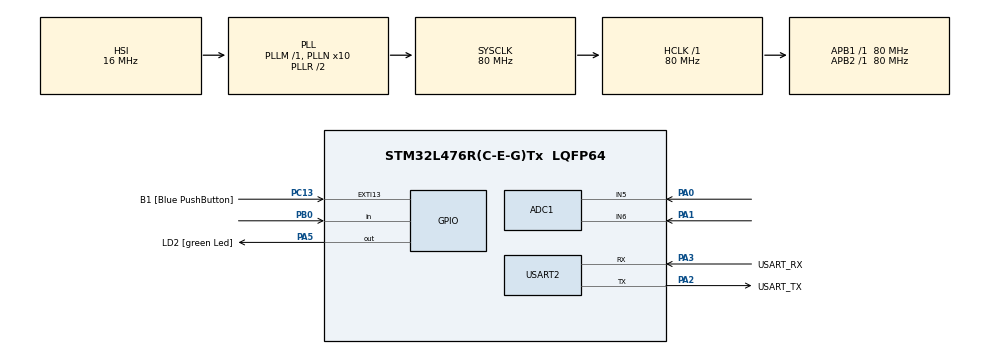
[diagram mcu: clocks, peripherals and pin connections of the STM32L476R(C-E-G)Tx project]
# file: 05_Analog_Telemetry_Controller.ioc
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ADC1.Channel-0\#ChannelRegularConversion=ADC_CHANNEL_5
ADC1.Channel-1\#ChannelRegularConversion=ADC_CHANNEL_6
ADC1.DiscontinuousConvMode=ENABLE
ADC1.NbrOfConversion=2
ADC1.NbrOfConversionFlag=1
ADC1.OffsetNumber-0\#ChannelRegularConversion=ADC_OFFSET_NONE
ADC1.OffsetNumber-1\#ChannelRegularConversion=ADC_OFFSET_NONE
ADC1.Rank-0\#ChannelRegularConversion=1
ADC1.Rank-1\#ChannelRegularConversion=2
ADC1.SamplingTime-0\#ChannelRegularConversion=ADC_SAMPLETIME_92CYCLES_5
ADC1.SamplingTime-1\#ChannelRegularConversion=ADC_SAMPLETIME_92CYCLES_5
ADC1.master=1
Mcu.Family=STM32L4
Mcu.Name=STM32L476R(C-E-G)Tx
Mcu.Package=LQFP64
NVIC.PriorityGroup=NVIC_PRIORITYGROUP_4
PA0.Signal=ADCx_IN5
PA1.Signal=ADCx_IN6
PA13\ (JTMS-SWDIO).GPIO_Label=TMS
PA13\ (JTMS-SWDIO).Mode=Serial_Wire
PA13\ (JTMS-SWDIO).Signal=SYS_JTMS-SWDIO
PA14\ (JTCK-SWCLK).GPIO_Label=TCK
PA14\ (JTCK-SWCLK).Mode=Serial_Wire
PA14\ (JTCK-SWCLK).Signal=SYS_JTCK-SWCLK
PA2.GPIO_Label=USART_TX
PA2.GPIO_Mode=GPIO_MODE_AF_PP
PA2.GPIO_PuPd=GPIO_NOPULL
PA2.GPIO_Speed=GPIO_SPEED_FREQ_VERY_HIGH
PA2.Mode=Asynchronous
PA2.Signal=USART2_TX
PA3.GPIO_Label=USART_RX
PA3.GPIO_Mode=GPIO_MODE_AF_PP
PA3.GPIO_PuPd=GPIO_NOPULL
PA3.GPIO_Speed=GPIO_SPEED_FREQ_VERY_HIGH
PA3.Mode=Asynchronous
PA3.Signal=USART2_RX
PA5.GPIO_Label=LD2 [green Led]
PA5.GPIO_ModeDefaultOutputPP=GPIO_MODE_OUTPUT_PP
PA5.GPIO_PuPd=GPIO_NOPULL
PA5.GPIO_Speed=GPIO_SPEED_FREQ_LOW
PA5.Signal=GPIO_Output
PB0.GPIO_PuPd=GPIO_PULLUP
PB0.Signal=GPIO_Input
PB3\ (JTDO-TRACESWO).GPIO_Label=SWO
PB3\ (JTDO-TRACESWO).Signal=SYS_JTDO-SWO
PC13.GPIO_Label=B1 [Blue PushButton]
PC13.GPIO_ModeDefaultEXTI=GPIO_MODE_IT_FALLING
PC13.GPIO_PuPd=GPIO_NOPULL
PC13.Signal=GPXTI13
PC14-OSC32_IN\ (PC14).Mode=LSE-External-Oscillator
PC14-OSC32_IN\ (PC14).Signal=RCC_OSC32_IN
PC15-OSC32_OUT\ (PC15).Mode=LSE-External-Oscillator
PC15-OSC32_OUT\ (PC15).Signal=RCC_OSC32_OUT
PH0-OSC_IN\ (PH0).Signal=RCC_OSC_IN
PH1-OSC_OUT\ (PH1).Signal=RCC_OSC_OUT
ProjectManager.HeapSize=0x200
ProjectManager.StackSize=0x400
ProjectManager.TargetToolchain=STM32CubeIDE
RCC.ADCFreq_Value=64000000
RCC.AHBFreq_Value=80000000
RCC.APB1Freq_Value=80000000
RCC.APB1TimFreq_Value=80000000
RCC.APB2Freq_Value=80000000
RCC.APB2TimFreq_Value=80000000
RCC.CortexFreq_Value=80000000
RCC.HCLKFreq_Value=80000000
RCC.HSE_VALUE=8000000
RCC.HSI_VALUE=16000000
RCC.MSI_VALUE=4000000
RCC.PLLN=10
RCC.PLLSourceVirtual=RCC_PLLSOURCE_HSI
RCC.PREFETCH_ENABLE=1
RCC.SYSCLKFreq_VALUE=80000000
RCC.SYSCLKSource=RCC_SYSCLKSOURCE_PLLCLK
RCC.USBFreq_Value=64000000
RCC.VCOOutputFreq_Value=160000000
SH.ADCx_IN5.0=ADC1_IN5,IN5-Single-Ended
SH.ADCx_IN6.0=ADC1_IN6,IN6-Single-Ended
USART2.VirtualMode-Asynchronous=VM_ASYNC
board=NUCLEO-L476RG

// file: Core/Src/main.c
/* USER CODE BEGIN Header */
/**
  ******************************************************************************
  * @file           : main.c
  * @brief          : Main program body
  ******************************************************************************
  * @attention
  *
  * Copyright (c) 2026 STMicroelectronics.
  * All rights reserved.
  *
  * This software is licensed under terms that can be found in the LICENSE file
  * in the root directory of this software component.
  * If no LICENSE file comes with this software, it is provided AS-IS.
  *
  ******************************************************************************
  */
/* USER CODE END Header */
#include "main.h"

/* USER CODE BEGIN Includes */
#include <stdio.h>
/* USER CODE END Includes */

ADC_HandleTypeDef hadc1;

UART_HandleTypeDef huart2;

void SystemClock_Config(void);
static void MX_GPIO_Init(void);
static void MX_ADC1_Init(void);
static void MX_USART2_UART_Init(void);

int main(void)
{

  /* USER CODE BEGIN 1 */
	uint16_t joy_x = 0;
	uint16_t joy_y = 0;
	uint8_t button_state = 0;

	// Optional: buffer for UART transmission
	char uart_buf[50];
  /* USER CODE END 1 */

  /* MCU Configuration--------------------------------------------------------*/

  /* Reset of all peripherals, Initializes the Flash interface and the Systick. */
  HAL_Init();

  /* Configure the system clock */
  SystemClock_Config();

  /* Initialize all configured peripherals */
  MX_GPIO_Init();
  MX_ADC1_Init();
  MX_USART2_UART_Init();

  /* Infinite loop */
  /* USER CODE BEGIN WHILE */
  while (1)
  {
	  // 1. Read X Axis (Rank 1 in ADC sequence)
	  HAL_ADC_Start(&hadc1);	// Start ADC conversion
	  if (HAL_ADC_PollForConversion(&hadc1, 10) == HAL_OK)
	  {
		  joy_x = HAL_ADC_GetValue(&hadc1);	// Get result from register
	  }

	  // 2. Read Y Axis (Rank 2 in ADC sequence)
	  HAL_ADC_Start(&hadc1);
	  if (HAL_ADC_PollForConversion(&hadc1, 10) == HAL_OK)
	  {
		  joy_y = HAL_ADC_GetValue(&hadc1);
	  }

	  // 3. Read button state
	  if (HAL_GPIO_ReadPin(GPIOB, GPIO_PIN_0) == GPIO_PIN_RESET)
	  {
		  button_state = 1;	// button pressed
	  }
	  else
	  {
		  button_state = 0;	// button released
	  }

	  // --- 4. UART DEBUG TRANSMISSION (Optional) ---
	  int len = sprintf(uart_buf, "X: %d | Y: %d | BTN: %d\r\n", joy_x, joy_y, button_state);
	  HAL_UART_Transmit(&huart2, (uint8_t*)uart_buf, len, 100);

	  // Short delay to avoid overloading the ADC and UART
	  HAL_Delay(20);
    /* USER CODE END WHILE */

  }
}

void SystemClock_Config(void)
{
  RCC_OscInitTypeDef RCC_OscInitStruct = {0};
  RCC_ClkInitTypeDef RCC_ClkInitStruct = {0};

  /** Configure the main internal regulator output voltage
  */
  if (HAL_PWREx_ControlVoltageScaling(PWR_REGULATOR_VOLTAGE_SCALE1) != HAL_OK)
  {
    Error_Handler();
  }

  /** Initializes the RCC Oscillators according to the specified parameters
  * in the RCC_OscInitTypeDef structure.
  */
  RCC_OscInitStruct.OscillatorType = RCC_OSCILLATORTYPE_HSI;
  RCC_OscInitStruct.HSIState = RCC_HSI_ON;
  RCC_OscInitStruct.HSICalibrationValue = RCC_HSICALIBRATION_DEFAULT;
  RCC_OscInitStruct.PLL.PLLState = RCC_PLL_ON;
  RCC_OscInitStruct.PLL.PLLSource = RCC_PLLSOURCE_HSI;
  RCC_OscInitStruct.PLL.PLLM = 1;
  RCC_OscInitStruct.PLL.PLLN = 10;
  RCC_OscInitStruct.PLL.PLLP = RCC_PLLP_DIV7;
  RCC_OscInitStruct.PLL.PLLQ = RCC_PLLQ_DIV2;
  RCC_OscInitStruct.PLL.PLLR = RCC_PLLR_DIV2;
  if (HAL_RCC_OscConfig(&RCC_OscInitStruct) != HAL_OK)
  {
    Error_Handler();
  }

  /** Initializes the CPU, AHB and APB buses clocks
  */
  RCC_ClkInitStruct.ClockType = RCC_CLOCKTYPE_HCLK|RCC_CLOCKTYPE_SYSCLK
                              |RCC_CLOCKTYPE_PCLK1|RCC_CLOCKTYPE_PCLK2;
  RCC_ClkInitStruct.SYSCLKSource = RCC_SYSCLKSOURCE_PLLCLK;
  RCC_ClkInitStruct.AHBCLKDivider = RCC_SYSCLK_DIV1;
  RCC_ClkInitStruct.APB1CLKDivider = RCC_HCLK_DIV1;
  RCC_ClkInitStruct.APB2CLKDivider = RCC_HCLK_DIV1;

  if (HAL_RCC_ClockConfig(&RCC_ClkInitStruct, FLASH_LATENCY_4) != HAL_OK)
  {
    Error_Handler();
  }
}

static void MX_ADC1_Init(void)
{

  ADC_MultiModeTypeDef multimode = {0};
  ADC_ChannelConfTypeDef sConfig = {0};

  /** Common config
  */
  hadc1.Instance = ADC1;
  hadc1.Init.ClockPrescaler = ADC_CLOCK_ASYNC_DIV1;
  hadc1.Init.Resolution = ADC_RESOLUTION_12B;
  hadc1.Init.DataAlign = ADC_DATAALIGN_RIGHT;
  hadc1.Init.ScanConvMode = ADC_SCAN_ENABLE;
  hadc1.Init.EOCSelection = ADC_EOC_SINGLE_CONV;
  hadc1.Init.LowPowerAutoWait = DISABLE;
  hadc1.Init.ContinuousConvMode = DISABLE;
  hadc1.Init.NbrOfConversion = 2;
  hadc1.Init.DiscontinuousConvMode = ENABLE;
  hadc1.Init.NbrOfDiscConversion = 1;
  hadc1.Init.ExternalTrigConv = ADC_SOFTWARE_START;
  hadc1.Init.ExternalTrigConvEdge = ADC_EXTERNALTRIGCONVEDGE_NONE;
  hadc1.Init.DMAContinuousRequests = DISABLE;
  hadc1.Init.Overrun = ADC_OVR_DATA_PRESERVED;
  hadc1.Init.OversamplingMode = DISABLE;
  if (HAL_ADC_Init(&hadc1) != HAL_OK)
  {
    Error_Handler();
  }

  /** Configure the ADC multi-mode
  */
  multimode.Mode = ADC_MODE_INDEPENDENT;
  if (HAL_ADCEx_MultiModeConfigChannel(&hadc1, &multimode) != HAL_OK)
  {
    Error_Handler();
  }

  /** Configure Regular Channel
  */
  sConfig.Channel = ADC_CHANNEL_5;
  sConfig.Rank = ADC_REGULAR_RANK_1;
  sConfig.SamplingTime = ADC_SAMPLETIME_92CYCLES_5;
  sConfig.SingleDiff = ADC_SINGLE_ENDED;
  sConfig.OffsetNumber = ADC_OFFSET_NONE;
  sConfig.Offset = 0;
  if (HAL_ADC_ConfigChannel(&hadc1, &sConfig) != HAL_OK)
  {
    Error_Handler();
  }

  /** Configure Regular Channel
  */
  sConfig.Channel = ADC_CHANNEL_6;
  sConfig.Rank = ADC_REGULAR_RANK_2;
  if (HAL_ADC_ConfigChannel(&hadc1, &sConfig) != HAL_OK)
  {
    Error_Handler();
  }

}

static void MX_USART2_UART_Init(void)
{

  huart2.Instance = USART2;
  huart2.Init.BaudRate = 115200;
  huart2.Init.WordLength = UART_WORDLENGTH_8B;
  huart2.Init.StopBits = UART_STOPBITS_1;
  huart2.Init.Parity = UART_PARITY_NONE;
  huart2.Init.Mode = UART_MODE_TX_RX;
  huart2.Init.HwFlowCtl = UART_HWCONTROL_NONE;
  huart2.Init.OverSampling = UART_OVERSAMPLING_16;
  huart2.Init.OneBitSampling = UART_ONE_BIT_SAMPLE_DISABLE;
  huart2.AdvancedInit.AdvFeatureInit = UART_ADVFEATURE_NO_INIT;
  if (HAL_UART_Init(&huart2) != HAL_OK)
  {
    Error_Handler();
  }

}

static void MX_GPIO_Init(void)
{
  GPIO_InitTypeDef GPIO_InitStruct = {0};

  /* GPIO Ports Clock Enable */
  __HAL_RCC_GPIOC_CLK_ENABLE();
  __HAL_RCC_GPIOH_CLK_ENABLE();
  __HAL_RCC_GPIOA_CLK_ENABLE();
  __HAL_RCC_GPIOB_CLK_ENABLE();

  /*Configure GPIO pin Output Level */
  HAL_GPIO_WritePin(LD2_GPIO_Port, LD2_Pin, GPIO_PIN_RESET);

  /*Configure GPIO pin : B1_Pin */
  GPIO_InitStruct.Pin = B1_Pin;
  GPIO_InitStruct.Mode = GPIO_MODE_IT_FALLING;
  GPIO_InitStruct.Pull = GPIO_NOPULL;
  HAL_GPIO_Init(B1_GPIO_Port, &GPIO_InitStruct);

  /*Configure GPIO pin : LD2_Pin */
  GPIO_InitStruct.Pin = LD2_Pin;
  GPIO_InitStruct.Mode = GPIO_MODE_OUTPUT_PP;
  GPIO_InitStruct.Pull = GPIO_NOPULL;
  GPIO_InitStruct.Speed = GPIO_SPEED_FREQ_LOW;
  HAL_GPIO_Init(LD2_GPIO_Port, &GPIO_InitStruct);

  /*Configure GPIO pin : PB0 */
  GPIO_InitStruct.Pin = GPIO_PIN_0;
  GPIO_InitStruct.Mode = GPIO_MODE_INPUT;
  GPIO_InitStruct.Pull = GPIO_PULLUP;
  HAL_GPIO_Init(GPIOB, &GPIO_InitStruct);

}

void Error_Handler(void)
{
  __disable_irq();
  while (1)
  {
  }
}
